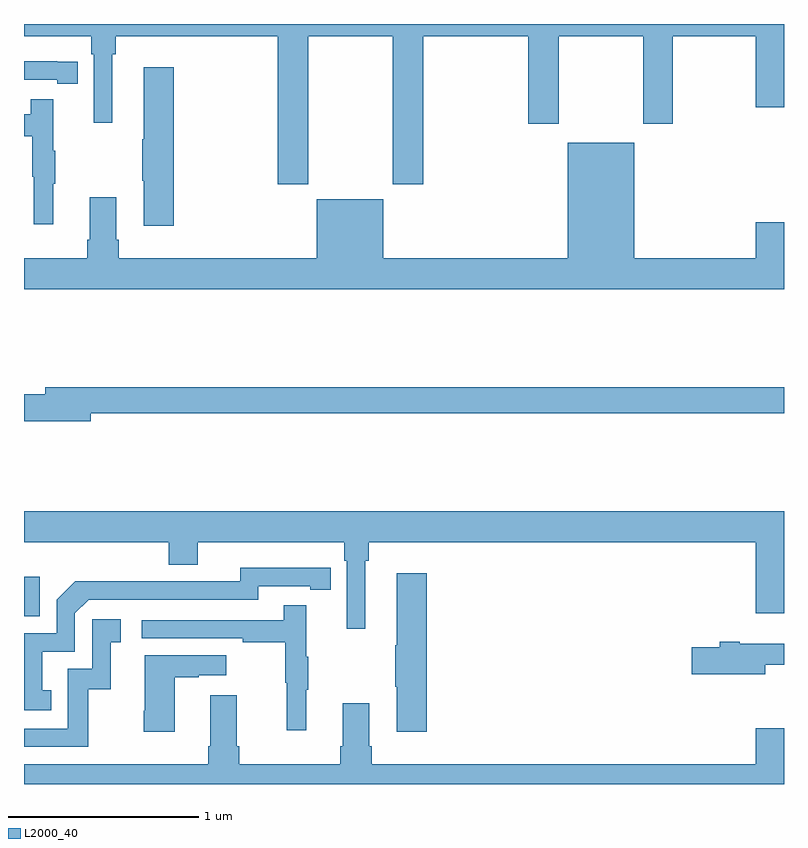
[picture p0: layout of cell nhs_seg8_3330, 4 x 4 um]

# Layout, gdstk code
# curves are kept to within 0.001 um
import gdstk
lib = gdstk.Library(unit=1e-6, precision=1e-09)
def R(c, l, rs):  # rectangles x0, y0, x1, y1
    for r in rs: c.add(gdstk.rectangle(r[:2], r[2:], *l))
def P(c, l, *ps):  # polygons
    for p in ps: c.add(gdstk.Polygon(p, *l))
L2000_40 = (2000, 40)

nhs_seg8_3330 = lib.new_cell('nhs_seg8_3330')
R(nhs_seg8_3330, L2000_40, [(317,1110.783,317.082,1110.991)])
P(nhs_seg8_3330, L2000_40, [(318.495,1113.836),(318.94,1113.836),(318.94,1113.057),(319.1,1113.057),(319.1,1113.836),(319.655,1113.836),(319.655,1113.375),(319.815,1113.375),(319.815,1113.836),(320.26,1113.836),(320.26,1113.375),(320.415,1113.375),(320.415,1113.836),(320.852,1113.836),(320.852,1113.462),(321,1113.462),(321,1113.9),(317,1113.9),(317,1113.836),(317.354,1113.836),(317.354,1113.74),(317.367,1113.74),(317.367,1113.381),(317.464,1113.381),(317.464,1113.74),(317.483,1113.74),(317.483,1113.836),(318.335,1113.836),(318.335,1113.057),(318.495,1113.057)],
  [(317.282,1113.702),(317.174,1113.702),(317.174,1113.703),(317,1113.703),(317,1113.606),(317.174,1113.606),(317.174,1113.586),(317.282,1113.586)],
  [(317.789,1113.673),(317.63,1113.673),(317.63,1113.293),(317.623,1113.293),(317.623,1113.076),(317.63,1113.076),(317.63,1112.838),(317.789,1112.838)],
  [(317.153,1113.059),(317.164,1113.059),(317.164,1113.233),(317.153,1113.233),(317.153,1113.505),(317.035,1113.505),(317.035,1113.426),(317,1113.426),(317,1113.31),(317.043,1113.31),(317.043,1113.096),(317.05,1113.096),(317.05,1112.847),(317.153,1112.847)],
  [(321,1112.857),(320.852,1112.857),(320.852,1112.668),(320.212,1112.668),(320.212,1113.274),(319.862,1113.274),(319.862,1112.668),(318.892,1112.668),(318.892,1112.977),(318.542,1112.977),(318.542,1112.668),(317.498,1112.668),(317.498,1112.764),(317.485,1112.764),(317.485,1112.989),(317.345,1112.989),(317.345,1112.764),(317.333,1112.764),(317.333,1112.668),(317,1112.668),(317,1112.504),(321,1112.504)],
  [(317.35,1111.852),(321,1111.852),(321,1111.988),(317.111,1111.988),(317.111,1111.952),(317,1111.952),(317,1111.81),(317.35,1111.81)],
  [(318.796,1111.076),(318.815,1111.076),(318.815,1111.172),(320.852,1111.172),(320.852,1110.798),(321,1110.798),(321,1111.336),(317,1111.336),(317,1111.172),(317.762,1111.172),(317.762,1111.055),(317.914,1111.055),(317.914,1111.172),(318.686,1111.172),(318.686,1111.076),(318.699,1111.076),(318.699,1110.717),(318.796,1110.717)],
  [(317.144,1110.393),(317.095,1110.393),(317.095,1110.597),(317.268,1110.597),(317.268,1110.798),(317.34,1110.87),(318.234,1110.87),(318.234,1110.942),(318.506,1110.942),(318.506,1110.922),(318.614,1110.922),(318.614,1111.038),(318.138,1111.039),(318.138,1110.966),(317.678,1110.966),(317.678,1110.968),(317.27,1110.968),(317.172,1110.87),(317.172,1110.693),(317,1110.693),(317,1110.288),(317.144,1110.288)],
  [(319.121,1111.009),(318.962,1111.009),(318.962,1110.629),(318.955,1110.629),(318.955,1110.412),(318.962,1110.412),(318.962,1110.174),(319.121,1110.174)],
  [(318.485,1110.395),(318.496,1110.395),(318.496,1110.569),(318.485,1110.569),(318.485,1110.841),(318.367,1110.841),(318.367,1110.762),(317.619,1110.762),(317.619,1110.666),(318.151,1110.666),(318.151,1110.646),(318.375,1110.646),(318.375,1110.432),(318.382,1110.432),(318.382,1110.183),(318.485,1110.183)],
  [(317.338,1110.399),(317.456,1110.399),(317.456,1110.645),(317.509,1110.645),(317.509,1110.766),(317.358,1110.766),(317.358,1110.507),(317.229,1110.507),(317.229,1110.192),(317,1110.192),(317,1110.096),(317.338,1110.096)],
  [(320.902,1110.528),(321,1110.528),(321,1110.637),(320.767,1110.637),(320.767,1110.65),(320.663,1110.65),(320.663,1110.62),(320.514,1110.62),(320.514,1110.478),(320.902,1110.478)],
  [(317.794,1110.463),(317.921,1110.463),(317.921,1110.473),(318.064,1110.473),(318.064,1110.577),(317.636,1110.577),(317.636,1110.286),(317.629,1110.286),(317.629,1110.174),(317.794,1110.174)],
  [(321,1110.193),(320.852,1110.193),(320.852,1110.004),(318.83,1110.004),(318.83,1110.1),(318.817,1110.1),(318.817,1110.325),(318.677,1110.325),(318.677,1110.1),(318.665,1110.1),(318.665,1110.004),(318.134,1110.004),(318.134,1110.1),(318.121,1110.1),(318.121,1110.367),(317.981,1110.367),(317.981,1110.1),(317.969,1110.1),(317.969,1110.004),(317,1110.004),(317,1109.9),(321,1109.9)])

lib.write_gds('nhs_seg8_3330.gds')
